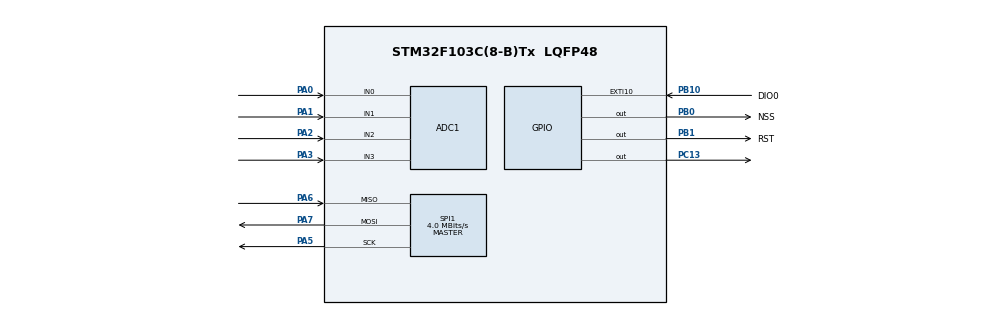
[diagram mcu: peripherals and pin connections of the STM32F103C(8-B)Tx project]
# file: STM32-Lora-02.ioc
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ADC1.Channel-0\#ChannelRegularConversion=ADC_CHANNEL_0
ADC1.NbrOfConversionFlag=1
ADC1.Rank-0\#ChannelRegularConversion=1
ADC1.SamplingTime-0\#ChannelRegularConversion=ADC_SAMPLETIME_1CYCLE_5
ADC1.master=1
Mcu.Family=STM32F1
Mcu.Name=STM32F103C(8-B)Tx
Mcu.Package=LQFP48
NVIC.PriorityGroup=NVIC_PRIORITYGROUP_4
PA0-WKUP.Signal=ADCx_IN0
PA1.Signal=ADCx_IN1
PA2.Signal=ADCx_IN2
PA3.Signal=ADCx_IN3
PA5.Mode=Full_Duplex_Master
PA5.Signal=SPI1_SCK
PA6.Mode=Full_Duplex_Master
PA6.Signal=SPI1_MISO
PA7.Mode=Full_Duplex_Master
PA7.Signal=SPI1_MOSI
PB0.GPIO_Label=NSS
PB0.PinState=GPIO_PIN_SET
PB0.Signal=GPIO_Output
PB1.GPIO_Label=RST
PB1.PinState=GPIO_PIN_SET
PB1.Signal=GPIO_Output
PB10.GPIO_Label=DIO0
PB10.Signal=GPXTI10
PC13-TAMPER-RTC.Signal=GPIO_Output
PC14-OSC32_IN.Mode=LSE-External-Oscillator
PC14-OSC32_IN.Signal=RCC_OSC32_IN
PC15-OSC32_OUT.Mode=LSE-External-Oscillator
PC15-OSC32_OUT.Signal=RCC_OSC32_OUT
PD0-OSC_IN.Mode=HSE-External-Oscillator
PD0-OSC_IN.Signal=RCC_OSC_IN
PD1-OSC_OUT.Mode=HSE-External-Oscillator
PD1-OSC_OUT.Signal=RCC_OSC_OUT
ProjectManager.HeapSize=0x200
ProjectManager.StackSize=0x400
ProjectManager.TargetToolchain=STM32CubeIDE
RCC.APB1Freq_Value=8000000
RCC.APB2Freq_Value=8000000
SH.ADCx_IN0.0=ADC1_IN0,IN0
SH.ADCx_IN1.0=ADC1_IN1,IN1
SH.ADCx_IN2.0=ADC1_IN2,IN2
SH.ADCx_IN3.0=ADC1_IN3,IN3
SPI1.CalculateBaudRate=4.0 MBits/s
SPI1.Direction=SPI_DIRECTION_2LINES
SPI1.Mode=SPI_MODE_MASTER
SPI1.VirtualType=VM_MASTER
VP_SYS_VS_ND.Mode=No_Debug
board=custom

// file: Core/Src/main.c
/* USER CODE BEGIN Header */
/**
  ******************************************************************************
  * @file           : main.c
  * @brief          : Main program body
  ******************************************************************************
  * @attention
  *
  * Copyright (c) 2025 STMicroelectronics.
  * All rights reserved.
  *
  * This software is licensed under terms that can be found in the LICENSE file
  * in the root directory of this software component.
  * If no LICENSE file comes with this software, it is provided AS-IS.
  *
  ******************************************************************************
  */
/* USER CODE END Header */
#include "main.h"

/* USER CODE BEGIN Includes */
#include "LoRa.h"
#include "stdint.h"
/* USER CODE END Includes */

ADC_HandleTypeDef hadc1;

SPI_HandleTypeDef hspi1;

/* USER CODE BEGIN PV */
LoRa myLoRa;
uint8_t read_data[128];
uint8_t send_data[128];
int	RSSI;
/* USER CODE END PV */

void SystemClock_Config(void);
static void MX_GPIO_Init(void);
static void MX_SPI1_Init(void);
static void MX_ADC1_Init(void);

/* USER CODE BEGIN 0 */

char send_data[64];

uint16_t adc_values[4];

// Read 4 channels PA1-PA4
void Read_ADC_Channels(void)
{
    ADC_ChannelConfTypeDef sConfig = {0};

    for (uint8_t i = 0; i < 4; i++) {
        sConfig.Channel = ADC_CHANNEL_1 + i;
        sConfig.Rank = 1;
        sConfig.SamplingTime = ADC_SAMPLETIME_55CYCLES_5;
        HAL_ADC_ConfigChannel(&hadc1, &sConfig);

        HAL_ADC_Start(&hadc1);
        if (HAL_ADC_PollForConversion(&hadc1, 10) == HAL_OK) {
            adc_values[i] = HAL_ADC_GetValue(&hadc1);
        }
        HAL_ADC_Stop(&hadc1);
    }
}

void Transmit_ADC_Values(void)
{
    Read_ADC_Channels();
    snprintf(send_data, sizeof(send_data),
             "A1:%u A2:%u A3:%u A4:%u",
             adc_values[0], adc_values[1], adc_values[2], adc_values[3]);

    LoRa_setSyncWord(&myLoRa, 0x3A);
    if (LoRa_transmit(&myLoRa, (uint8_t*)send_data, strlen(send_data), 100) == 1) {
        HAL_GPIO_WritePin(GPIOC, GPIO_PIN_13, GPIO_PIN_SET);  // Blink LED if sent
    }
}

/* USER CODE END 0 */

int main(void)
{

  /* MCU Configuration--------------------------------------------------------*/

  /* Reset of all peripherals, Initializes the Flash interface and the Systick. */
  HAL_Init();

  /* Configure the system clock */
  SystemClock_Config();

  /* Initialize all configured peripherals */
  MX_GPIO_Init();
  MX_SPI1_Init();
  MX_ADC1_Init();
  /* USER CODE BEGIN 2 */
  // MODULE SETTINGS ----------------------------------------------
  myLoRa = newLoRa();

  myLoRa.hSPIx                 = &hspi1;
  myLoRa.CS_port               = NSS_GPIO_Port;
  myLoRa.CS_pin                = NSS_Pin;
  myLoRa.reset_port            = RST_GPIO_Port;
  myLoRa.reset_pin             = RST_Pin;
  myLoRa.DIO0_port			   = DIO0_GPIO_Port;
  myLoRa.DIO0_pin			   = DIO0_Pin;

  myLoRa.frequency             = 433;							  // default = 433 MHz
  myLoRa.spredingFactor        = SF_7;							// default = SF_7
  myLoRa.bandWidth			   = BW_125KHz;				  // default = BW_125KHz
  myLoRa.crcRate			   = CR_4_5;						// default = CR_4_5
  myLoRa.power				   = POWER_20db;				// default = 20db
  myLoRa.overCurrentProtection = 120; 							// default = 100 mA
  myLoRa.preamble			   = 8;		  					// default = 8;

  LoRa_reset(&myLoRa);
  LoRa_init(&myLoRa);

  	// START CONTINUOUS RECEIVING -----------------------------------
  //LoRa_startReceiving(&myLoRa);
  	//---------------------------------------------------------------

  /* USER CODE END 2 */

  /* Infinite loop */
  while (1)
  {

    /* USER CODE BEGIN 3 */
	 Transmit_ADC_Values();
   HAL_Delay(1000);
  }
  /* USER CODE END 3 */
}

void SystemClock_Config(void)
{
  RCC_OscInitTypeDef RCC_OscInitStruct = {0};
  RCC_ClkInitTypeDef RCC_ClkInitStruct = {0};
  RCC_PeriphCLKInitTypeDef PeriphClkInit = {0};

  /** Initializes the RCC Oscillators according to the specified parameters
  * in the RCC_OscInitTypeDef structure.
  */
  RCC_OscInitStruct.OscillatorType = RCC_OSCILLATORTYPE_HSI;
  RCC_OscInitStruct.HSIState = RCC_HSI_ON;
  RCC_OscInitStruct.HSICalibrationValue = RCC_HSICALIBRATION_DEFAULT;
  RCC_OscInitStruct.PLL.PLLState = RCC_PLL_NONE;
  if (HAL_RCC_OscConfig(&RCC_OscInitStruct) != HAL_OK)
  {
    Error_Handler();
  }

  /** Initializes the CPU, AHB and APB buses clocks
  */
  RCC_ClkInitStruct.ClockType = RCC_CLOCKTYPE_HCLK|RCC_CLOCKTYPE_SYSCLK
                              |RCC_CLOCKTYPE_PCLK1|RCC_CLOCKTYPE_PCLK2;
  RCC_ClkInitStruct.SYSCLKSource = RCC_SYSCLKSOURCE_HSI;
  RCC_ClkInitStruct.AHBCLKDivider = RCC_SYSCLK_DIV1;
  RCC_ClkInitStruct.APB1CLKDivider = RCC_HCLK_DIV1;
  RCC_ClkInitStruct.APB2CLKDivider = RCC_HCLK_DIV1;

  if (HAL_RCC_ClockConfig(&RCC_ClkInitStruct, FLASH_LATENCY_0) != HAL_OK)
  {
    Error_Handler();
  }
  PeriphClkInit.PeriphClockSelection = RCC_PERIPHCLK_ADC;
  PeriphClkInit.AdcClockSelection = RCC_ADCPCLK2_DIV2;
  if (HAL_RCCEx_PeriphCLKConfig(&PeriphClkInit) != HAL_OK)
  {
    Error_Handler();
  }
}

static void MX_ADC1_Init(void)
{

  ADC_ChannelConfTypeDef sConfig = {0};

  /** Common config
  */
  hadc1.Instance = ADC1;
  hadc1.Init.ScanConvMode = ADC_SCAN_DISABLE;
  hadc1.Init.ContinuousConvMode = DISABLE;
  hadc1.Init.DiscontinuousConvMode = DISABLE;
  hadc1.Init.ExternalTrigConv = ADC_SOFTWARE_START;
  hadc1.Init.DataAlign = ADC_DATAALIGN_RIGHT;
  hadc1.Init.NbrOfConversion = 1;
  if (HAL_ADC_Init(&hadc1) != HAL_OK)
  {
    Error_Handler();
  }

  /** Configure Regular Channel
  */
  sConfig.Channel = ADC_CHANNEL_0;
  sConfig.Rank = ADC_REGULAR_RANK_1;
  sConfig.SamplingTime = ADC_SAMPLETIME_1CYCLE_5;
  if (HAL_ADC_ConfigChannel(&hadc1, &sConfig) != HAL_OK)
  {
    Error_Handler();
  }

}

static void MX_SPI1_Init(void)
{

  /* SPI1 parameter configuration*/
  hspi1.Instance = SPI1;
  hspi1.Init.Mode = SPI_MODE_MASTER;
  hspi1.Init.Direction = SPI_DIRECTION_2LINES;
  hspi1.Init.DataSize = SPI_DATASIZE_8BIT;
  hspi1.Init.CLKPolarity = SPI_POLARITY_LOW;
  hspi1.Init.CLKPhase = SPI_PHASE_1EDGE;
  hspi1.Init.NSS = SPI_NSS_SOFT;
  hspi1.Init.BaudRatePrescaler = SPI_BAUDRATEPRESCALER_2;
  hspi1.Init.FirstBit = SPI_FIRSTBIT_MSB;
  hspi1.Init.TIMode = SPI_TIMODE_DISABLE;
  hspi1.Init.CRCCalculation = SPI_CRCCALCULATION_DISABLE;
  hspi1.Init.CRCPolynomial = 10;
  if (HAL_SPI_Init(&hspi1) != HAL_OK)
  {
    Error_Handler();
  }

}

static void MX_GPIO_Init(void)
{
  GPIO_InitTypeDef GPIO_InitStruct = {0};

  /* GPIO Ports Clock Enable */
  __HAL_RCC_GPIOC_CLK_ENABLE();
  __HAL_RCC_GPIOD_CLK_ENABLE();
  __HAL_RCC_GPIOA_CLK_ENABLE();
  __HAL_RCC_GPIOB_CLK_ENABLE();

  /*Configure GPIO pin Output Level */
  HAL_GPIO_WritePin(GPIOC, GPIO_PIN_13, GPIO_PIN_RESET);

  /*Configure GPIO pin Output Level */
  HAL_GPIO_WritePin(GPIOB, NSS_Pin|RST_Pin, GPIO_PIN_SET);

  /*Configure GPIO pin : PC13 */
  GPIO_InitStruct.Pin = GPIO_PIN_13;
  GPIO_InitStruct.Mode = GPIO_MODE_OUTPUT_PP;
  GPIO_InitStruct.Pull = GPIO_NOPULL;
  GPIO_InitStruct.Speed = GPIO_SPEED_FREQ_LOW;
  HAL_GPIO_Init(GPIOC, &GPIO_InitStruct);

  /*Configure GPIO pins : NSS_Pin RST_Pin */
  GPIO_InitStruct.Pin = NSS_Pin|RST_Pin;
  GPIO_InitStruct.Mode = GPIO_MODE_OUTPUT_PP;
  GPIO_InitStruct.Pull = GPIO_NOPULL;
  GPIO_InitStruct.Speed = GPIO_SPEED_FREQ_LOW;
  HAL_GPIO_Init(GPIOB, &GPIO_InitStruct);

  /*Configure GPIO pin : DIO0_Pin */
  GPIO_InitStruct.Pin = DIO0_Pin;
  GPIO_InitStruct.Mode = GPIO_MODE_IT_RISING;
  GPIO_InitStruct.Pull = GPIO_NOPULL;
  HAL_GPIO_Init(DIO0_GPIO_Port, &GPIO_InitStruct);

}

void Error_Handler(void)
{
  __disable_irq();
  while (1)
  {
  }
}
